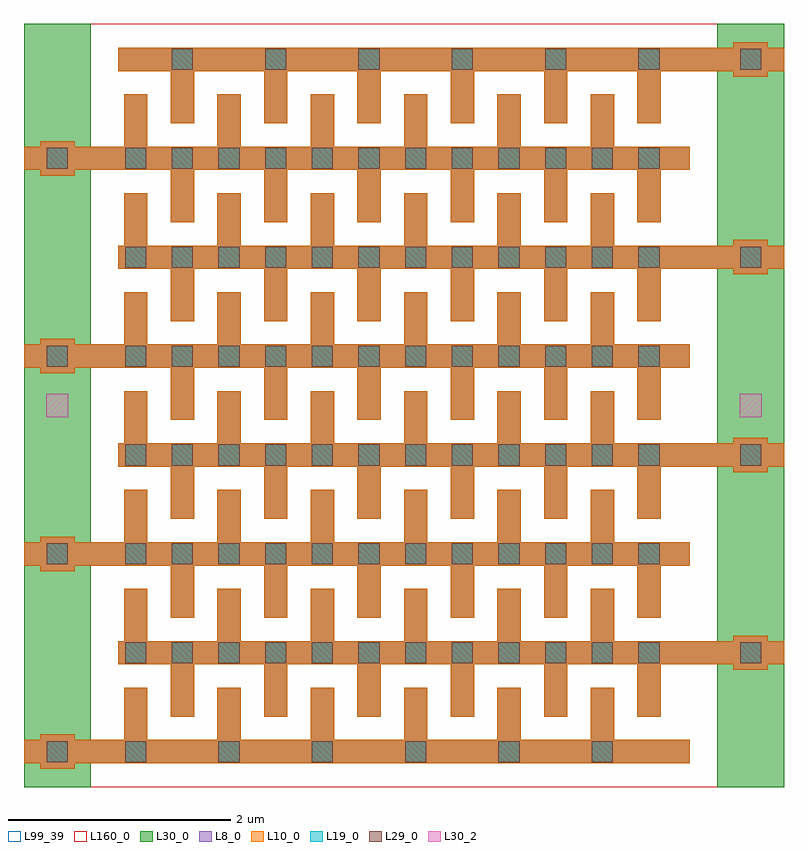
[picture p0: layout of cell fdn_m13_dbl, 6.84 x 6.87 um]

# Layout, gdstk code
import gdstk
lib = gdstk.Library(unit=1e-6, precision=1e-09)
def R(c, l, rs):  # rectangles x0, y0, x1, y1
    for r in rs: c.add(gdstk.rectangle(r[:2], r[2:], *l))
def A(c, l, x, y, w, h, nx, ny, dx, dy):  # array of equal rectangles
    R(c, l, [(x+i*dx, y+j*dy, x+i*dx+w, y+j*dy+h) for i in range(nx) for j in range(ny)])
L8_0 = (8, 0)
L10_0 = (10, 0)
L19_0 = (19, 0)
L29_0 = (29, 0)
L30_0 = (30, 0)
L30_2 = (30, 2)
L99_39 = (99, 39)
L160_0 = (160, 0)

fdn_m13_dbl = lib.new_cell('fdn_m13_dbl')
A(fdn_m13_dbl, L8_0, -0.755, -0.155, 0.31, 0.31, 1, 4, 0, 1.78)
A(fdn_m13_dbl, L8_0, -0.9, -0.105, 5.99, 0.21, 1, 4, 0, 1.78)
A(fdn_m13_dbl, L8_0, 0, 0, 0.21, 0.575, 6, 7, 0.84, 0.89)
A(fdn_m13_dbl, L8_0, 0.42, 0.315, 0.21, 0.575, 6, 7, 0.84, 0.89)
A(fdn_m13_dbl, L8_0, 5.485, 0.735, 0.31, 0.31, 1, 4, 0, 1.78)
A(fdn_m13_dbl, L8_0, -0.05, 0.785, 5.99, 0.21, 1, 4, 0, 1.78)
A(fdn_m13_dbl, L10_0, -0.755, -0.155, 0.31, 0.31, 1, 4, 0, 1.78)
A(fdn_m13_dbl, L10_0, -0.9, -0.105, 5.99, 0.21, 1, 4, 0, 1.78)
A(fdn_m13_dbl, L10_0, 0, 0, 0.21, 0.575, 6, 7, 0.84, 0.89)
A(fdn_m13_dbl, L10_0, 0.42, 0.315, 0.21, 0.575, 6, 7, 0.84, 0.89)
A(fdn_m13_dbl, L10_0, 5.485, 0.735, 0.31, 0.31, 1, 4, 0, 1.78)
A(fdn_m13_dbl, L10_0, -0.05, 0.785, 5.99, 0.21, 1, 4, 0, 1.78)
A(fdn_m13_dbl, L19_0, -0.695, -0.095, 0.19, 0.19, 1, 4, 0, 1.78)
A(fdn_m13_dbl, L19_0, 0.01, -0.095, 0.19, 0.19, 6, 1, 0.84, 0)
A(fdn_m13_dbl, L19_0, 0.01, 0.795, 0.19, 0.19, 12, 6, 0.42, 0.89)
A(fdn_m13_dbl, L19_0, 5.545, 0.795, 0.19, 0.19, 1, 4, 0, 1.78)
A(fdn_m13_dbl, L19_0, 0.43, 6.135, 0.19, 0.19, 6, 1, 0.84, 0)
A(fdn_m13_dbl, L29_0, -0.695, -0.095, 0.19, 0.19, 1, 4, 0, 1.78)
A(fdn_m13_dbl, L29_0, 0.01, -0.095, 0.19, 0.19, 6, 1, 0.84, 0)
A(fdn_m13_dbl, L29_0, 0.01, 0.795, 0.19, 0.19, 12, 6, 0.42, 0.89)
A(fdn_m13_dbl, L29_0, 5.545, 0.795, 0.19, 0.19, 1, 4, 0, 1.78)
A(fdn_m13_dbl, L29_0, 0.43, 6.135, 0.19, 0.19, 6, 1, 0.84, 0)
A(fdn_m13_dbl, L30_0, -0.9, -0.105, 5.99, 0.21, 1, 4, 0, 1.78)
A(fdn_m13_dbl, L30_0, 0, 0, 0.21, 0.575, 6, 7, 0.84, 0.89)
A(fdn_m13_dbl, L30_0, 0.42, 0.315, 0.21, 0.575, 6, 7, 0.84, 0.89)
A(fdn_m13_dbl, L30_0, -0.05, 0.785, 5.99, 0.21, 1, 4, 0, 1.78)
R(fdn_m13_dbl, L30_0, [(-0.9,-0.32,-0.3,6.55), (5.34,-0.32,5.94,6.55)])
R(fdn_m13_dbl, L30_2, [(-0.7,3.01,-0.5,3.22), (5.54,3.01,5.74,3.22)])
R(fdn_m13_dbl, L99_39, [(-0.9,-0.32,5.94,6.55)])
R(fdn_m13_dbl, L160_0, [(-0.9,-0.32,5.94,6.55)])
fdn_m13_dbl.add(gdstk.Label('cap_cmomi C=25.747fF', (-0.9,-0.82), layer=63, texttype=0))

lib.write_gds('fdn_m13_dbl.gds')
